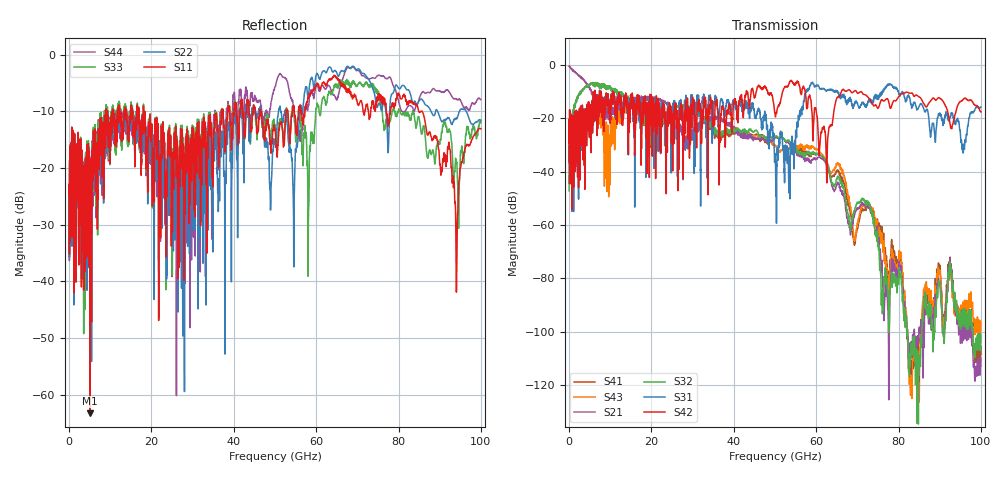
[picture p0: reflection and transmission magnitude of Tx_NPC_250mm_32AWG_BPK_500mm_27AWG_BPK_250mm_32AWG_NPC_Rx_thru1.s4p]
! Info: Touchstone file created by Circ.  Input file=Tx_NPC_250mm_32AWG_BPK_500mm_27AWG_BPK_250mm_32AWG_NPC_Rx.circ
# Hz S RI R 50
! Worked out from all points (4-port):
!   10000 points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, 10 MHz to 100 GHz, reference 50 ohm
!   strongest paths, dB at 10 MHz, 25.01 GHz, 50.01 GHz, 75.01 GHz, 100 GHz:
!     S42: -29.4, -18.4, -18.5, -16.2, -17.6
!     S31: -29.4, -22.2, -34.3, -11.9, -15.8
!     S32: -47.2, -16.0, -26.8, -68.1, -104.0
!     S21: -0.5, -17.7, -27.2, -66.0, -112.9
!     S43: -0.5, -17.3, -30.2, -63.1, -99.2
!     S41: -44.3, -16.0, -30.2, -62.2, -108.4
!   lowest |S11| = -63.3 dB at 5.03 GHz (marker M1), VSWR 1.00, Z = 49.9 - j0.0109 ohm
!   |S11| at or under -10 dB: start of sweep to 8.987 GHz; 18.17 GHz to 37.06 GHz (18.89 GHz wide, 68.4 % of centre); 85.71 GHz to end of sweep (the widest 3 of 42)
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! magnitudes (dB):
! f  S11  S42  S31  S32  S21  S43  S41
! 10 MHz  -24.6  -29.4  -29.4  -47.2  -0.5  -0.5  -44.3
! 5.03 GHz  -63.3  -19.7  -19.6  -7.2  -8.8  -8.8  -7.2
! 42.94 GHz  -10.2  -11.0  -15.5  -24.7  -26.1  -26.2  -26.3
! 50.33 GHz  -16.1  -17.9  -47.8  -26.6  -27.1  -30.8  -30.5
! 58.96 GHz  -6.4  -17.5  -7.0  -32.8  -35.6  -30.4  -33.2
! 76.16 GHz  -8.8  -13.4  -9.5  -90.4  -81.6  -65.9  -63.1
! 100 GHz  -13.1  -17.6  -15.8  -104.0  -112.9  -99.2  -108.4
